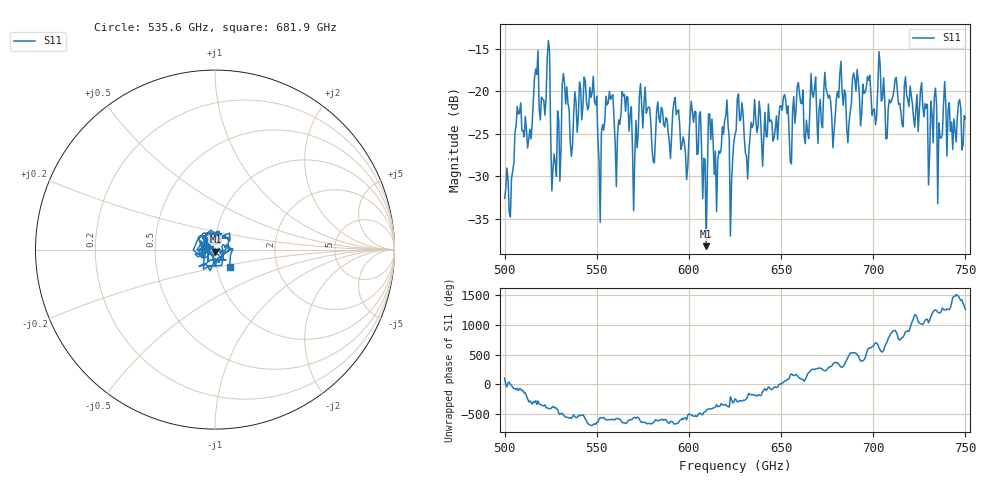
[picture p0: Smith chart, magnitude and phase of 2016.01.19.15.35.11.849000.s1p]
!Created with skrf (http://scikit-rf.org).
# GHz S RI R 50.0
!freq ReS11 ImS11
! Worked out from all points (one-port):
!   401 points, 500 GHz to 750 GHz, reference 50 ohm
!   lowest |S11| = -38.2 dB at 609.4 GHz (marker M1), VSWR 1.02, Z = 50.2 - j1.21 ohm
!   |S11| at or under -10 dB: start of sweep to end of sweep
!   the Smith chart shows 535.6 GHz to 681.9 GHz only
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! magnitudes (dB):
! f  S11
! 500 GHz  -32.6
! 503.8 GHz  -30.3
! 507.5 GHz  -22.7
! 513.8 GHz  -24.5
! 516.9 GHz  -17.4
! 523.8 GHz  -14.0
! 526.9 GHz  -27.4
! 531.2 GHz  -19.2
! 547.5 GHz  -20.1
! 551.9 GHz  -35.4
! 556.2 GHz  -21.4
! 562.5 GHz  -23.9
! 570.6 GHz  -27.8
! 575 GHz  -24.3
! 580.6 GHz  -28.3
! 593.8 GHz  -22.3
! 609.4 GHz  -38.2
! 611.9 GHz  -25.7
! 615 GHz  -34.2
! 619.4 GHz  -23.5
! 623.1 GHz  -30.9
! 625 GHz  -25.1
! 656.2 GHz  -22.3
! 667.5 GHz  -20.8
! 687.5 GHz  -22.4
! 718.8 GHz  -21.0
! 736.2 GHz  -25.5
! 750 GHz  -23.2
